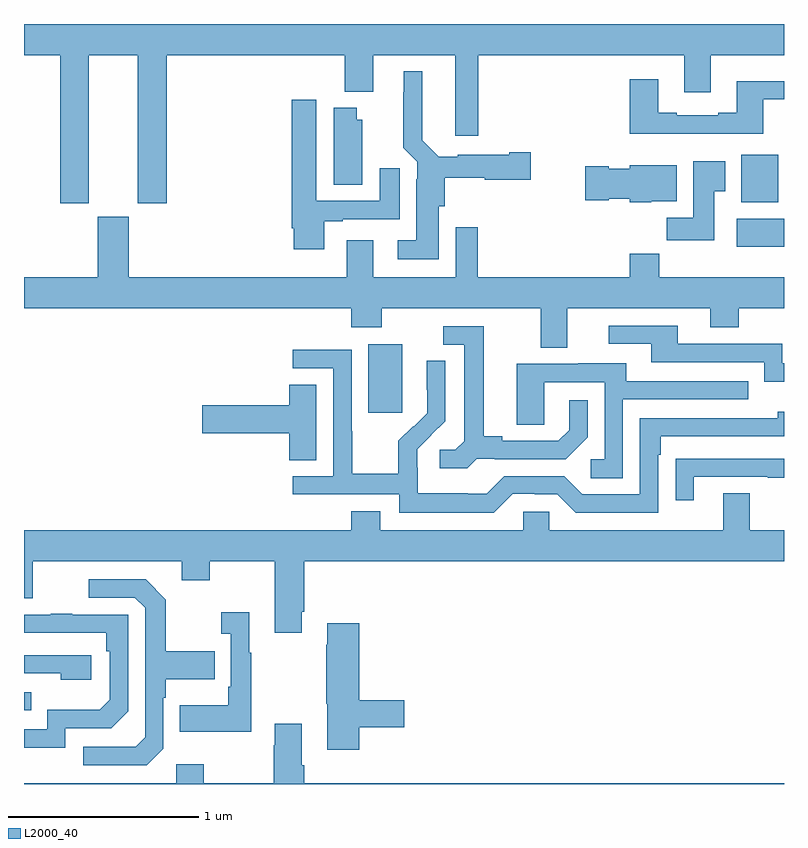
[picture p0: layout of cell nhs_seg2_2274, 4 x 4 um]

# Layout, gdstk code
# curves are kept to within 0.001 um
import gdstk
lib = gdstk.Library(unit=1e-6, precision=1e-09)
def R(c, l, rs):  # rectangles x0, y0, x1, y1
    for r in rs: c.add(gdstk.rectangle(r[:2], r[2:], *l))
def P(c, l, *ps):  # polygons
    for p in ps: c.add(gdstk.Polygon(p, *l))
L2000_40 = (2000, 40)

nhs_seg2_2274 = lib.new_cell('nhs_seg2_2274')
R(nhs_seg2_2274, L2000_40, [(229,644.187,229.037,644.283), (230.813,645.753,230.992,646.114), (232.751,646.628,233,646.774), (232.775,646.862,232.971,647.113)])
P(nhs_seg2_2274, L2000_40, [(229.342,647.636),(229.598,647.636),(229.598,646.857),(229.751,646.857),(229.751,647.636),(230.687,647.636),(230.687,647.444),(230.839,647.444),(230.839,647.636),(231.269,647.636),(231.269,647.211),(231.392,647.211),(231.392,647.636),(232.475,647.636),(232.475,647.442),(232.615,647.442),(232.615,647.636),(233,647.636),(233,647.8),(229,647.8),(229,647.636),(229.19,647.636),(229.19,646.857),(229.342,646.857)],
  [(231.184,646.842),(231.215,646.842),(231.215,646.991),(231.426,646.991),(231.426,646.979),(231.667,646.979),(231.667,647.126),(231.554,647.126),(231.554,647.113),(231.282,647.113),(231.282,647.101),(231.183,647.101),(231.097,647.188),(231.097,647.551),(230.999,647.551),(230.999,647.441),(230.995,647.441),(230.995,647.15),(231.069,647.076),(231.069,646.982),(231.065,646.982),(231.065,646.663),(230.967,646.663),(230.967,646.562),(231.184,646.562)],
  [(232.891,647.403),(233,647.403),(233,647.5),(232.751,647.5),(232.751,647.332),(232.655,647.332),(232.655,647.319),(232.435,647.319),(232.435,647.332),(232.339,647.332),(232.339,647.509),(232.187,647.509),(232.187,647.222),(232.891,647.222)],
  [(230.581,646.761),(230.677,646.761),(230.677,646.773),(230.977,646.773),(230.977,647.041),(230.873,647.041),(230.873,646.869),(230.539,646.869),(230.539,647.401),(230.408,647.401),(230.408,646.726),(230.42,646.726),(230.42,646.614),(230.581,646.614)],
  [(230.779,647.295),(230.752,647.295),(230.752,647.359),(230.63,647.359),(230.63,646.954),(230.779,646.954)],
  [(232.633,646.921),(232.69,646.921),(232.69,647.077),(232.523,647.077),(232.523,646.78),(232.384,646.78),(232.384,646.662),(232.633,646.662)],
  [(232.302,646.868),(232.435,646.868),(232.435,647.056),(232.188,647.056),(232.188,647.038),(232.077,647.038),(232.077,647.051),(231.954,647.051),(231.954,646.873),(232.077,646.873),(232.077,646.88),(232.188,646.88),(232.188,646.862),(232.302,646.862)],
  [(231.859,646.304),(232.613,646.304),(232.613,646.205),(232.761,646.205),(232.761,646.304),(233,646.304),(233,646.468),(232.343,646.468),(232.343,646.592),(232.187,646.592),(232.187,646.468),(231.389,646.468),(231.389,646.729),(231.273,646.729),(231.273,646.468),(230.839,646.468),(230.839,646.663),(230.699,646.663),(230.699,646.468),(229.552,646.468),(229.552,646.785),(229.388,646.785),(229.388,646.468),(229,646.468),(229,646.304),(230.723,646.304),(230.723,646.205),(230.883,646.205),(230.883,646.304),(231.719,646.304),(231.719,646.096),(231.859,646.096)],
  [(233,646.014),(232.992,646.014),(232.992,646.116),(232.441,646.116),(232.441,646.212),(232.077,646.212),(232.077,646.116),(232.301,646.116),(232.301,646.02),(232.896,646.02),(232.896,645.917),(233,645.917)],
  [(231.384,645.513),(231.478,645.513),(231.478,645.51),(231.85,645.51),(231.966,645.626),(231.966,645.82),(231.869,645.82),(231.869,645.663),(231.812,645.606),(231.517,645.606),(231.517,645.629),(231.421,645.629),(231.421,646.209),(231.207,646.209),(231.207,646.113),(231.317,646.113),(231.317,645.605),(231.27,645.558),(231.189,645.558),(231.189,645.461),(231.332,645.461)],
  [(231.573,645.327),(231.689,645.327),(231.689,645.324),(231.807,645.324),(231.903,645.228),(232.338,645.228),(232.338,645.533),(232.351,645.533),(232.351,645.63),(233,645.63),(233,645.76),(232.967,645.76),(232.967,645.726),(232.242,645.726),(232.242,645.324),(231.939,645.324),(231.843,645.42),(231.528,645.42),(231.435,645.327),(231.335,645.327),(231.335,645.331),(231.072,645.331),(231.072,645.465),(231.07,645.465),(231.07,645.562),(231.216,645.71),(231.216,646.028),(231.12,646.028),(231.12,645.874),(231.122,645.874),(231.122,645.752),(231.051,645.681),(231.048,645.684),(230.971,645.607),(230.971,645.433),(230.727,645.433),(230.727,645.656),(230.724,645.656),(230.724,646.086),(230.415,646.086),(230.415,645.987),(230.628,645.987),(230.628,645.42),(230.415,645.42),(230.415,645.324),(230.976,645.324),(230.976,645.227),(231.473,645.227)],
  [(232.152,645.825),(232.811,645.825),(232.811,645.921),(232.171,645.921),(232.171,646.015),(231.917,646.015),(231.917,646.011),(231.593,646.011),(231.593,645.691),(231.738,645.691),(231.738,645.915),(232.056,645.915),(232.056,645.51),(231.984,645.51),(231.984,645.409),(232.152,645.409)],
  [(230.539,645.902),(230.396,645.902),(230.396,645.794),(229.938,645.794),(229.938,645.647),(230.396,645.647),(230.396,645.505),(230.539,645.505)],
  [(232.525,645.417),(232.915,645.417),(232.915,645.412),(233,645.412),(233,645.513),(232.531,645.513),(232.531,645.512),(232.429,645.512),(232.429,645.294),(232.525,645.294)],
  [(230.461,644.707),(230.474,644.707),(230.474,644.972),(233,644.972),(233,645.136),(232.819,645.136),(232.819,645.331),(232.679,645.331),(232.679,645.136),(231.765,645.136),(231.765,645.234),(231.627,645.234),(231.627,645.136),(230.875,645.136),(230.875,645.235),(230.723,645.235),(230.723,645.136),(229,645.136),(229,644.778),(229.045,644.778),(229.045,644.972),(229.829,644.972),(229.829,644.873),(229.977,644.873),(229.977,644.972),(230.321,644.972),(230.321,644.595),(230.461,644.595)],
  [(229.734,643.986),(229.734,644.255),(229.747,644.255),(229.747,644.351),(230.003,644.351),(230.003,644.499),(229.747,644.499),(229.747,644.771),(229.641,644.877),(229.341,644.877),(229.341,644.781),(229.584,644.781),(229.638,644.727),(229.638,644.046),(229.587,643.995),(229.311,643.995),(229.311,643.899),(229.647,643.899)],
  [(230.197,644.491),(230.185,644.491),(230.185,644.704),(230.037,644.704),(230.037,644.591),(230.088,644.591),(230.088,644.311),(230.076,644.311),(230.076,644.215),(229.819,644.215),(229.819,644.075),(230.197,644.075)],
  [(229.218,644.094),(229.458,644.094),(229.548,644.184),(229.548,644.691),(229.253,644.691),(229.253,644.696),(229.141,644.696),(229.141,644.691),(229,644.691),(229,644.595),(229.432,644.595),(229.432,644.498),(229.452,644.498),(229.452,644.244),(229.399,644.191),(229.122,644.191),(229.122,644.088),(229,644.088),(229,643.992),(229.218,643.992)],
  [(230.765,644.098),(231.001,644.098),(231.001,644.24),(230.765,644.24),(230.765,644.647),(230.597,644.647),(230.597,644.534),(230.59,644.534),(230.59,644.223),(230.597,644.223),(230.597,643.98),(230.765,643.98)],
  [(229.354,644.478),(229,644.478),(229,644.382),(229.193,644.382),(229.193,644.348),(229.354,644.348)],
  [(233,643.804),(230.474,643.804),(230.474,643.9),(230.461,643.9),(230.461,644.116),(230.321,644.116),(230.321,644.003),(230.314,644.003),(230.314,643.804),(229.947,643.804),(229.947,643.903),(229.8,643.903),(229.8,643.804),(229,643.804),(229,643.8),(233,643.8)])

lib.write_gds('nhs_seg2_2274.gds')
